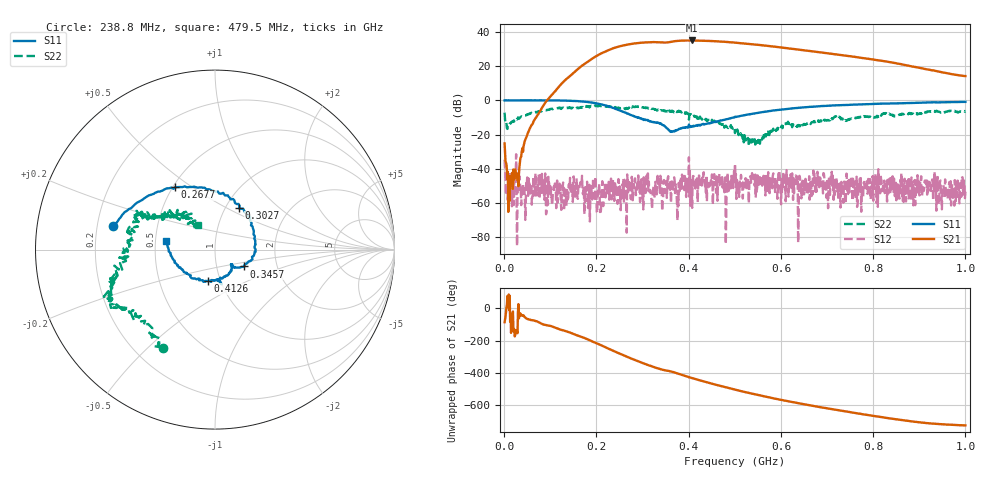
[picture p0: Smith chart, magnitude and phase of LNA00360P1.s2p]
! Created with skrf 1.9.0 (http://scikit-rf.org).
# Hz S RI R 50.0
!freq ReS11 ImS11 ReS21 ImS21 ReS12 ImS12 ReS22 ImS22
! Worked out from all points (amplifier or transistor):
!   1001 points, 1 MHz to 1 GHz, reference 50 ohm
!   highest |S21| = 34.9 dB at 406.6 MHz (marker M1)
!   |S21| within 3 dB of that: 256.8 MHz to 565.8 MHz (309 MHz wide, 75.1 % of centre)
!   unconditionally stable (mu >= 1): 311.7 MHz to 400.2 MHz; 400.9 MHz to 500.4 MHz; 500.6 MHz to end of sweep (the widest 3 of 37)
!   at 166.8 MHz: K = 0.51, MSG = 34.1 dB, |S12| = -48.5 dB
!   at 500.5 MHz: K = 0.95, MSG = 35.2 dB, |S12| = -36.8 dB
!   at 1 GHz: K = 7.05, MAG = 22.3 dB, |S12| = -53.3 dB
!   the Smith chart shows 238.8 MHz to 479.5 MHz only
!   S11 on the Smith chart (normalised r, x): 238.8 MHz: 0.27, +0.10; 267.7 MHz: 0.51, +0.43; 302.7 MHz: 1.16, +0.57; 345.7 MHz: 1.36, -0.26; 412.6 MHz: 0.87, -0.32; 479.5 MHz: 0.57, +0.06
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1000000  0.9945 0.0089  0.00287 -0.0556  -0.0186 0.000534  0.3002 0.315
1.08892e8  0.5059 -0.8553  -0.8334 -1.533  -0.00211 -0.000755  0.4297 -0.3617
1.67833e8  -0.2628 -0.8885  -10.01 -0.4078  -0.00288 -0.00108  0.0441 -0.6355
2.08792e8  -0.6832 -0.3606  -15.35 16.72  -0.000125 0.000647  -0.2031 -0.6537
2.38762e8  -0.5683 0.1294  -2.019 33.68  0.000344 -0.00111  -0.2879 -0.5458
2.67733e8  -0.2218 0.3477  22.53 35.88  -0.0043 -0.000202  -0.4545 -0.3379
3.02698e8  0.1346 0.2296  45.56 15.43  -0.000895 -0.00564  -0.5802 -0.2395
3.34666e8  0.2201 -0.022  48.13 -11.32  -0.00306 0.00268  -0.5167 -0.045
3.45655e8  0.1615 -0.0937  45.07 -18  0.00156 0.00386  -0.5106 0.002
3.73627e8  0.0954 -0.0962  40.49 -35.41  0.000143 0.00195  -0.4451 0.1724
4.06594e8  -0.00523 -0.1722  18.28 -52.58  0.000684 0.00314  -0.3211 0.19
4.12588e8  -0.0373 -0.1752  13.53 -53.66  0.00243 0.00326  -0.2886 0.1671
4.45555e8  -0.1825 -0.1091  -11.62 -52.39  0.00428 -0.000505  -0.1726 0.2085
4.79521e8  -0.2704 0.0454  -31.3 -39.89  0.00447 0.00349  -0.0957 0.1391
5.005e8  -0.283 0.172  -38.68 -28.87  0.0132 0.00579  -0.0745 0.0815
5.39461e8  -0.1854 0.3638  -42.21 -7.856  0.0053 -0.000638  -0.0721 -0.00213
5.85415e8  0.0179 0.5069  -35.04 11.24  0.00396 -0.000573  -0.1053 -0.0652
6.25375e8  0.2129 0.5438  -24.1 20.29  0.00235 -0.0018  -0.1588 -0.0951
6.67333e8  0.4159 0.4981  -12.39 23.68  0.00205 -0.0036  -0.2256 -0.0479
7.55245e8  0.6916 0.2742  4.66 18.25  -0.000777 0.000872  -0.3017 0.0348
8.34166e8  0.8062 0.0159  10.01 8.536  -0.0024 0.00394  -0.3965 0.0393
1e9  0.7309 -0.5261  5.08 -0.3415  0.00128 -0.00174  -0.2974 0.3687
